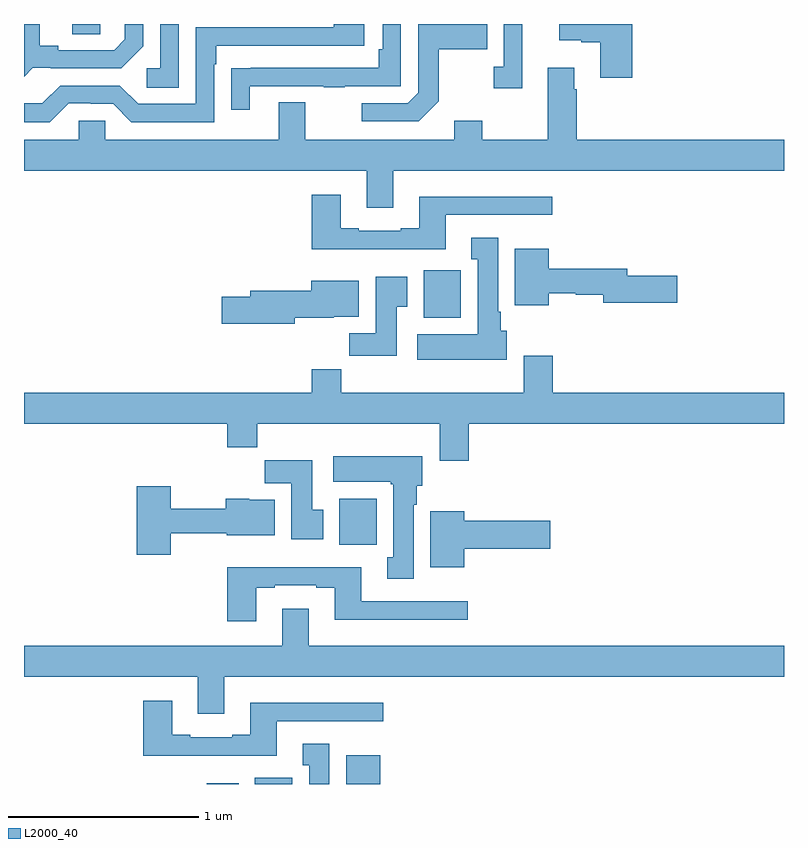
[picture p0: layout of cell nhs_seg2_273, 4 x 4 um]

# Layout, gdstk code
import gdstk
lib = gdstk.Library(unit=1e-6, precision=1e-09)
def R(c, l, rs):  # rectangles x0, y0, x1, y1
    for r in rs: c.add(gdstk.rectangle(r[:2], r[2:], *l))
def P(c, l, *ps):  # polygons
    for p in ps: c.add(gdstk.Polygon(p, *l))
L2000_40 = (2000, 40)

nhs_seg2_273 = lib.new_cell('nhs_seg2_273')
R(nhs_seg2_273, L2000_40, [(125.963,585.8,126.13,585.805), (126.215,585.8,126.412,585.832), (126.695,585.8,126.874,585.952), (126.659,587.06,126.856,587.302), (127.103,588.254,127.299,588.505), (125.255,589.747,125.4,589.8)])
P(nhs_seg2_273, L2000_40, [(125.235,589.383),(125.351,589.383),(125.351,589.38),(125.469,589.38),(125.565,589.284),(126,589.284),(126,589.589),(126.013,589.589),(126.013,589.686),(126.79,589.686),(126.79,589.8),(126.629,589.8),(126.629,589.782),(125.904,589.782),(125.904,589.38),(125.601,589.38),(125.505,589.476),(125.19,589.476),(125.097,589.383),(125,589.383),(125,589.283),(125.135,589.283)],
  [(126.187,589.473),(126.577,589.473),(126.577,589.468),(126.689,589.468),(126.689,589.473),(126.984,589.473),(126.984,589.8),(126.888,589.8),(126.888,589.666),(126.868,589.666),(126.868,589.569),(126.193,589.569),(126.193,589.568),(126.091,589.568),(126.091,589.35),(126.187,589.35)],
  [(125.814,589.8),(125.718,589.8),(125.718,589.566),(125.646,589.566),(125.646,589.465),(125.814,589.465)],
  [(125.046,589.569),(125.14,589.569),(125.14,589.566),(125.512,589.566),(125.628,589.682),(125.628,589.8),(125.531,589.8),(125.531,589.719),(125.474,589.662),(125.179,589.662),(125.179,589.685),(125.083,589.685),(125.083,589.8),(125,589.8),(125,589.523)],
  [(127.183,589.393),(127.183,589.666),(127.439,589.666),(127.439,589.8),(127.074,589.8),(127.074,589.437),(127.02,589.383),(126.777,589.383),(126.777,589.287),(127.077,589.287)],
  [(128.201,589.8),(127.818,589.8),(127.818,589.715),(127.934,589.715),(127.934,589.703),(128.033,589.703),(128.033,589.518),(128.201,589.518)],
  [(127.622,589.8),(127.524,589.8),(127.524,589.574),(127.473,589.574),(127.473,589.461),(127.622,589.461)],
  [(126.943,589.028),(129,589.028),(129,589.192),(127.91,589.192),(127.91,589.457),(127.897,589.457),(127.897,589.57),(127.757,589.57),(127.757,589.192),(127.413,589.192),(127.413,589.291),(127.265,589.291),(127.265,589.192),(126.481,589.192),(126.481,589.387),(126.341,589.387),(126.341,589.192),(125.427,589.192),(125.427,589.29),(125.289,589.29),(125.289,589.192),(125,589.192),(125,589.028),(126.803,589.028),(126.803,588.834),(126.943,588.834)],
  [(127.219,588.795),(127.78,588.795),(127.78,588.892),(127.079,588.892),(127.079,588.724),(126.983,588.724),(126.983,588.711),(126.763,588.711),(126.763,588.724),(126.667,588.724),(126.667,588.901),(126.515,588.901),(126.515,588.614),(127.219,588.614)],
  [(127.54,588.186),(127.51,588.186),(127.51,588.286),(127.495,588.286),(127.495,588.676),(127.355,588.676),(127.355,588.563),(127.388,588.563),(127.388,588.166),(127.071,588.166),(127.071,588.032),(127.54,588.032)],
  [(127.762,588.384),(127.905,588.384),(127.905,588.376),(128.048,588.376),(128.048,588.334),(128.437,588.334),(128.437,588.476),(128.176,588.476),(128.176,588.512),(127.762,588.512),(127.762,588.616),(127.583,588.616),(127.583,588.32),(127.762,588.32)],
  [(126.961,588.313),(127.018,588.313),(127.018,588.469),(126.851,588.469),(126.851,588.172),(126.712,588.172),(126.712,588.054),(126.961,588.054)],
  [(126.426,588.254),(126.63,588.254),(126.63,588.26),(126.763,588.26),(126.763,588.448),(126.512,588.448),(126.512,588.395),(126.191,588.395),(126.191,588.365),(126.042,588.365),(126.042,588.223),(126.426,588.223)],
  [(127.34,587.696),(129,587.696),(129,587.86),(127.784,587.86),(127.784,588.055),(127.631,588.055),(127.631,587.86),(126.671,587.86),(126.671,587.984),(126.515,587.984),(126.515,587.86),(125,587.86),(125,587.696),(126.071,587.696),(126.071,587.572),(126.227,587.572),(126.227,587.696),(127.187,587.696),(127.187,587.502),(127.34,587.502)],
  [(127.051,587.27),(127.066,587.27),(127.066,587.37),(127.096,587.37),(127.096,587.524),(126.627,587.524),(126.627,587.39),(126.931,587.39),(126.931,587.377),(126.944,587.377),(126.944,586.994),(126.911,586.994),(126.911,586.881),(127.051,586.881)],
  [(126.574,587.244),(126.517,587.244),(126.517,587.503),(126.268,587.503),(126.268,587.384),(126.407,587.384),(126.407,587.088),(126.574,587.088)],
  [(125.772,587.119),(126.068,587.119),(126.068,587.108),(126.319,587.108),(126.319,587.296),(126.186,587.296),(126.186,587.302),(126.061,587.302),(126.061,587.248),(125.772,587.248),(125.772,587.368),(125.594,587.368),(125.594,587.007),(125.772,587.007)],
  [(127.318,587.039),(127.771,587.039),(127.771,587.186),(127.318,587.186),(127.318,587.236),(127.139,587.236),(127.139,586.94),(127.318,586.94)],
  [(126.223,586.833),(126.319,586.833),(126.319,586.845),(126.539,586.845),(126.539,586.833),(126.635,586.833),(126.635,586.664),(127.336,586.664),(127.336,586.761),(126.775,586.761),(126.775,586.942),(126.071,586.942),(126.071,586.656),(126.223,586.656)],
  [(126.055,586.364),(129,586.364),(129,586.528),(126.499,586.528),(126.499,586.723),(126.359,586.723),(126.359,586.528),(125,586.528),(125,586.364),(125.915,586.364),(125.915,586.17),(126.055,586.17)],
  [(126.331,586.131),(126.892,586.131),(126.892,586.228),(126.191,586.228),(126.191,586.06),(126.095,586.06),(126.095,586.047),(125.875,586.047),(125.875,586.06),(125.779,586.06),(125.779,586.237),(125.627,586.237),(125.627,585.95),(126.331,585.95)],
  [(126.607,586.012),(126.467,586.012),(126.467,585.899),(126.5,585.899),(126.5,585.8),(126.607,585.8)])

lib.write_gds('nhs_seg2_273.gds')
